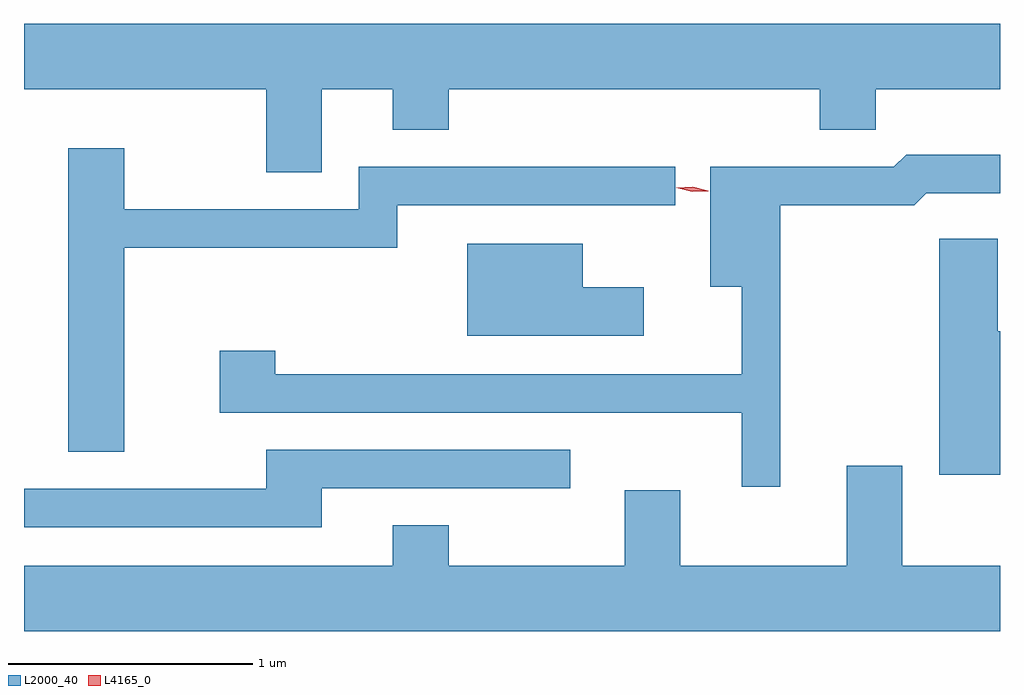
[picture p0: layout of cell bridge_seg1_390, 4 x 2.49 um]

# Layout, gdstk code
import gdstk
lib = gdstk.Library(unit=1e-6, precision=1e-09)
def P(c, l, *ps):  # polygons
    for p in ps: c.add(gdstk.Polygon(p, *l))
L2000_40 = (2000, 40)
L4165_0 = (4165, 0)

bridge_seg1_390 = lib.new_cell('bridge_seg1_390')
P(bridge_seg1_390, L2000_40, [(603.074,963.956),(603.366,963.956),(603.366,963.791),(603.594,963.791),(603.594,963.956),(605.116,963.956),(605.116,963.791),(605.344,963.791),(605.344,963.956),(605.854,963.956),(605.854,964.224),(601.854,964.224),(601.854,963.956),(602.846,963.956),(602.846,963.616),(603.074,963.616)],
  [(602.264,963.306),(603.384,963.306),(603.384,963.481),(604.523,963.481),(604.523,963.639),(603.226,963.639),(603.226,963.464),(602.264,963.464),(602.264,963.714),(602.036,963.714),(602.036,962.471),(602.264,962.471)],
  [(604.954,963.481),(605.502,963.481),(605.552,963.531),(605.854,963.531),(605.854,963.689),(605.469,963.689),(605.419,963.639),(604.666,963.639),(604.666,963.146),(604.796,963.146),(604.796,962.789),(602.884,962.789),(602.884,962.884),(602.656,962.884),(602.656,962.631),(604.796,962.631),(604.796,962.328),(604.954,962.328)],
  [(605.854,962.964),(605.844,962.964),(605.844,963.344),(605.606,963.344),(605.606,962.376),(605.854,962.376)],
  [(604.394,963.144),(604.144,963.144),(604.144,963.324),(603.671,963.324),(603.671,962.946),(604.394,962.946)],
  [(603.074,962.321),(604.093,962.321),(604.093,962.479),(602.846,962.479),(602.846,962.319),(601.854,962.319),(601.854,962.161),(603.074,962.161)],
  [(605.854,962.004),(605.454,962.004),(605.454,962.414),(605.226,962.414),(605.226,962.004),(604.544,962.004),(604.544,962.314),(604.316,962.314),(604.316,962.004),(603.594,962.004),(603.594,962.169),(603.366,962.169),(603.366,962.004),(601.854,962.004),(601.854,961.736),(605.854,961.736)])
P(bridge_seg1_390, L4165_0, [(604.593,963.536),(604.528,963.552),(604.528,963.553),(604.528,963.553),(604.594,963.556),(604.659,963.54),(604.659,963.54),(604.659,963.539)])

lib.write_gds('bridge_seg1_390.gds')
